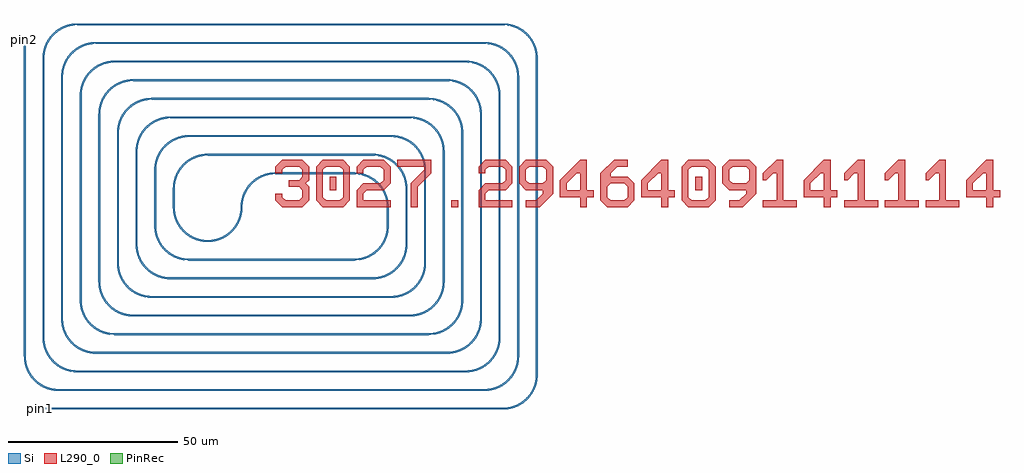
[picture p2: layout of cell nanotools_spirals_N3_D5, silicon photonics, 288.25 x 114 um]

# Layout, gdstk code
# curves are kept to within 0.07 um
import gdstk
lib = gdstk.Library(unit=1e-6, precision=1e-09)
def R(c, l, rs):  # rectangles x0, y0, x1, y1
    for r in rs: c.add(gdstk.rectangle(r[:2], r[2:], *l))
def P(c, l, *ps):  # polygons
    for p in ps: c.add(gdstk.Polygon(p, *l))
Si = (1, 0)
PinRec = (1, 10)
L290_0 = (290, 0)

nanotools_spirals_n3_d5 = lib.new_cell('nanotools_spirals_N3_D5')
R(nanotools_spirals_n3_d5, Si, [(-69.5,-59.75,67.2,-59.25), (-64,-54.25,61.7,-53.75), (76.95,-49.5,77.45,44), (-58.5,-48.75,56.2,-48.25), (-74.25,-44,-73.75,49.5), (71.45,-44,71.95,38.5), (-53,-43.25,50.7,-42.75), (-68.75,-38.5,-68.25,44), (65.95,-38.5,66.45,33), (-47.5,-37.75,45.2,-37.25), (-63.25,-33,-62.75,38.5), (60.45,-33,60.95,27.5), (-42,-32.25,39.7,-31.75), (-57.75,-27.5,-57.25,33), (54.95,-27.5,55.45,22), (-36.5,-26.75,34.2,-26.25), (-52.25,-22,-51.75,27.5), (49.45,-22,49.95,16.5), (-31,-21.25,28.7,-20.75), (-46.75,-16.5,-46.25,22), (43.95,-16.5,44.45,11), (-25.5,-15.75,23.2,-15.25), (-41.25,-11,-40.75,16.5), (38.45,-11,38.95,5.5), (-35.75,-5.5,-35.25,11), (32.95,-5.5,33.45,0), (-30.25,0,-29.75,5.5), (0,9.75,23.2,10.25), (-20,15.25,28.7,15.75), (-25.5,20.75,34.2,21.25), (-31,26.25,39.7,26.75), (-36.5,31.75,45.2,32.25), (-42,37.25,50.7,37.75), (-47.5,42.75,56.2,43.25), (-53,48.25,61.7,48.75), (-58.5,53.75,67.2,54.25)])
P(nanotools_spirals_n3_d5, Si, [(-10.25,0),(-10.056,1.984),(-9.482,3.894),(-8.548,5.656),(-7.292,7.204),(-6.557,7.879),(-5.759,8.479),(-4.009,9.434),(-3.072,9.779),(-2.107,10.031),(-1.121,10.189),(0,10.25),(0,9.75),(-1.066,9.692),(-2.12,9.517),(-3.148,9.228),(-4.246,8.777),(-5.673,7.93),(-6.852,6.936),(-7.93,5.673),(-8.777,4.246),(-9.228,3.148),(-9.517,2.12),(-9.692,1.066),(-9.75,0)],
  [(-20,-10.25),(-20,-9.75),(-18.934,-9.692),(-17.88,-9.517),(-16.852,-9.228),(-15.754,-8.777),(-14.327,-7.93),(-13.148,-6.936),(-12.07,-5.673),(-11.223,-4.246),(-10.772,-3.148),(-10.483,-2.12),(-10.308,-1.066),(-10.25,0),(-9.75,0),(-9.944,-1.984),(-10.518,-3.894),(-11.452,-5.656),(-12.708,-7.204),(-13.443,-7.879),(-14.241,-8.479),(-15.991,-9.434),(-16.928,-9.779),(-17.893,-10.031),(-18.879,-10.189)],
  [(23.2,-15.75),(23.2,-15.25),(24.266,-15.192),(25.32,-15.017),(26.348,-14.728),(27.446,-14.277),(28.873,-13.43),(30.052,-12.436),(31.13,-11.173),(31.977,-9.746),(32.428,-8.648),(32.717,-7.62),(32.892,-6.566),(32.95,-5.5),(33.45,-5.5),(33.256,-7.484),(32.682,-9.394),(31.748,-11.156),(30.492,-12.704),(29.757,-13.379),(28.959,-13.979),(27.209,-14.934),(26.272,-15.279),(25.307,-15.531),(24.321,-15.689)],
  [(28.7,-21.25),(28.7,-20.75),(29.766,-20.692),(30.82,-20.517),(31.848,-20.228),(32.946,-19.777),(34.373,-18.93),(35.552,-17.936),(36.63,-16.673),(37.477,-15.246),(37.928,-14.148),(38.217,-13.12),(38.392,-12.066),(38.45,-11),(38.95,-11),(38.756,-12.984),(38.182,-14.894),(37.248,-16.656),(35.992,-18.204),(35.257,-18.879),(34.459,-19.479),(32.709,-20.434),(31.772,-20.779),(30.807,-21.031),(29.821,-21.189)],
  [(34.2,-26.75),(34.2,-26.25),(35.266,-26.192),(36.32,-26.017),(37.348,-25.728),(38.446,-25.277),(39.873,-24.43),(41.052,-23.436),(42.13,-22.173),(42.977,-20.746),(43.428,-19.648),(43.717,-18.62),(43.892,-17.566),(43.95,-16.5),(44.45,-16.5),(44.256,-18.484),(43.682,-20.394),(42.748,-22.156),(41.492,-23.704),(40.757,-24.379),(39.959,-24.979),(38.209,-25.934),(37.272,-26.279),(36.307,-26.531),(35.321,-26.689)],
  [(39.7,-32.25),(39.7,-31.75),(40.766,-31.692),(41.82,-31.517),(42.848,-31.228),(43.946,-30.777),(45.373,-29.93),(46.552,-28.936),(47.63,-27.673),(48.477,-26.246),(48.928,-25.148),(49.217,-24.12),(49.392,-23.066),(49.45,-22),(49.95,-22),(49.756,-23.984),(49.182,-25.894),(48.248,-27.656),(46.992,-29.204),(46.257,-29.879),(45.459,-30.479),(43.709,-31.434),(42.772,-31.779),(41.807,-32.031),(40.821,-32.189)],
  [(45.2,-37.75),(45.2,-37.25),(46.266,-37.192),(47.32,-37.017),(48.348,-36.728),(49.446,-36.277),(50.873,-35.43),(52.052,-34.436),(53.13,-33.173),(53.977,-31.746),(54.428,-30.648),(54.717,-29.62),(54.892,-28.566),(54.95,-27.5),(55.45,-27.5),(55.256,-29.484),(54.682,-31.394),(53.748,-33.156),(52.492,-34.704),(51.757,-35.379),(50.959,-35.979),(49.209,-36.934),(48.272,-37.279),(47.307,-37.531),(46.321,-37.689)],
  [(50.7,-43.25),(50.7,-42.75),(51.766,-42.692),(52.82,-42.517),(53.848,-42.228),(54.946,-41.777),(56.373,-40.93),(57.552,-39.936),(58.63,-38.673),(59.477,-37.246),(59.928,-36.148),(60.217,-35.12),(60.392,-34.066),(60.45,-33),(60.95,-33),(60.756,-34.984),(60.182,-36.894),(59.248,-38.656),(57.992,-40.204),(57.257,-40.879),(56.459,-41.479),(54.709,-42.434),(53.772,-42.779),(52.807,-43.031),(51.821,-43.189)],
  [(56.2,-48.75),(56.2,-48.25),(57.266,-48.192),(58.32,-48.017),(59.348,-47.728),(60.446,-47.277),(61.873,-46.43),(63.052,-45.436),(64.13,-44.173),(64.977,-42.746),(65.428,-41.648),(65.717,-40.62),(65.892,-39.566),(65.95,-38.5),(66.45,-38.5),(66.256,-40.484),(65.682,-42.394),(64.748,-44.156),(63.492,-45.704),(62.757,-46.379),(61.959,-46.979),(60.209,-47.934),(59.272,-48.279),(58.307,-48.531),(57.321,-48.689)],
  [(61.7,-54.25),(61.7,-53.75),(62.766,-53.692),(63.82,-53.517),(64.848,-53.228),(65.946,-52.777),(67.373,-51.93),(68.552,-50.936),(69.63,-49.673),(70.477,-48.246),(70.928,-47.148),(71.217,-46.12),(71.392,-45.066),(71.45,-44),(71.95,-44),(71.756,-45.984),(71.182,-47.894),(70.248,-49.656),(68.992,-51.204),(68.257,-51.879),(67.459,-52.479),(65.709,-53.434),(64.772,-53.779),(63.807,-54.031),(62.821,-54.189)],
  [(67.2,-59.75),(67.2,-59.25),(68.266,-59.192),(69.32,-59.017),(70.348,-58.728),(71.446,-58.277),(72.873,-57.43),(74.052,-56.436),(75.13,-55.173),(75.977,-53.746),(76.428,-52.648),(76.717,-51.62),(76.892,-50.566),(76.95,-49.5),(77.45,-49.5),(77.256,-51.484),(76.682,-53.394),(75.748,-55.156),(74.492,-56.704),(73.757,-57.379),(72.959,-57.979),(71.209,-58.934),(70.272,-59.279),(69.307,-59.531),(68.321,-59.689)],
  [(32.95,0),(32.766,1.888),(32.264,3.594),(31.46,5.18),(30.301,6.681),(29.065,7.789),(27.552,8.725),(26.46,9.189),(25.436,9.49),(24.266,9.692),(23.2,9.75),(23.2,10.25),(24.321,10.189),(25.307,10.031),(26.272,9.779),(27.209,9.434),(28.217,8.939),(29.062,8.408),(29.947,7.717),(30.665,7.024),(31.389,6.165),(32.014,5.233),(32.533,4.237),(32.941,3.191),(33.322,1.616),(33.45,0)],
  [(38.45,5.5),(38.266,7.388),(37.764,9.094),(36.96,10.68),(35.801,12.181),(34.565,13.289),(33.052,14.225),(31.96,14.689),(30.936,14.99),(29.766,15.192),(28.7,15.25),(28.7,15.75),(29.821,15.689),(30.807,15.531),(31.772,15.279),(32.709,14.934),(33.717,14.439),(34.562,13.908),(35.447,13.217),(36.165,12.524),(36.889,11.665),(37.514,10.733),(38.033,9.737),(38.441,8.691),(38.822,7.116),(38.95,5.5)],
  [(43.95,11),(43.766,12.888),(43.264,14.594),(42.46,16.18),(41.301,17.681),(40.065,18.789),(38.552,19.725),(37.46,20.189),(36.436,20.49),(35.266,20.692),(34.2,20.75),(34.2,21.25),(35.321,21.189),(36.307,21.031),(37.272,20.779),(38.209,20.434),(39.217,19.939),(40.062,19.408),(40.947,18.717),(41.665,18.024),(42.389,17.165),(43.014,16.233),(43.533,15.237),(43.941,14.191),(44.322,12.616),(44.45,11)],
  [(49.45,16.5),(49.266,18.388),(48.764,20.094),(47.96,21.68),(46.801,23.181),(45.565,24.289),(44.052,25.225),(42.96,25.689),(41.936,25.99),(40.766,26.192),(39.7,26.25),(39.7,26.75),(40.821,26.689),(41.807,26.531),(42.772,26.279),(43.709,25.934),(44.717,25.439),(45.562,24.908),(46.447,24.217),(47.165,23.524),(47.889,22.665),(48.514,21.733),(49.033,20.737),(49.441,19.691),(49.822,18.116),(49.95,16.5)],
  [(54.95,22),(54.766,23.888),(54.264,25.594),(53.46,27.18),(52.301,28.681),(51.065,29.789),(49.552,30.725),(48.46,31.189),(47.436,31.49),(46.266,31.692),(45.2,31.75),(45.2,32.25),(46.321,32.189),(47.307,32.031),(48.272,31.779),(49.209,31.434),(50.217,30.939),(51.062,30.408),(51.947,29.717),(52.665,29.024),(53.389,28.165),(54.014,27.233),(54.533,26.237),(54.941,25.191),(55.322,23.616),(55.45,22)],
  [(60.45,27.5),(60.266,29.388),(59.764,31.094),(58.96,32.68),(57.801,34.181),(56.565,35.289),(55.052,36.225),(53.96,36.689),(52.936,36.99),(51.766,37.192),(50.7,37.25),(50.7,37.75),(51.821,37.689),(52.807,37.531),(53.772,37.279),(54.709,36.934),(55.717,36.439),(56.562,35.908),(57.447,35.217),(58.165,34.524),(58.889,33.665),(59.514,32.733),(60.033,31.737),(60.441,30.691),(60.822,29.116),(60.95,27.5)],
  [(65.95,33),(65.766,34.888),(65.264,36.594),(64.46,38.18),(63.301,39.681),(62.065,40.789),(60.552,41.725),(59.46,42.189),(58.436,42.49),(57.266,42.692),(56.2,42.75),(56.2,43.25),(57.321,43.189),(58.307,43.031),(59.272,42.779),(60.209,42.434),(61.217,41.939),(62.062,41.408),(62.947,40.717),(63.665,40.024),(64.389,39.165),(65.014,38.233),(65.533,37.237),(65.941,36.191),(66.322,34.616),(66.45,33)],
  [(71.45,38.5),(71.266,40.388),(70.764,42.094),(69.96,43.68),(68.801,45.181),(67.565,46.289),(66.052,47.225),(64.96,47.689),(63.936,47.99),(62.766,48.192),(61.7,48.25),(61.7,48.75),(62.821,48.689),(63.807,48.531),(64.772,48.279),(65.709,47.934),(66.717,47.439),(67.562,46.908),(68.447,46.217),(69.165,45.524),(69.889,44.665),(70.514,43.733),(71.033,42.737),(71.441,41.691),(71.822,40.116),(71.95,38.5)],
  [(76.95,44),(76.766,45.888),(76.264,47.594),(75.46,49.18),(74.301,50.681),(73.065,51.789),(71.552,52.725),(70.46,53.189),(69.436,53.49),(68.266,53.692),(67.2,53.75),(67.2,54.25),(68.321,54.189),(69.307,54.031),(70.272,53.779),(71.209,53.434),(72.217,52.939),(73.062,52.408),(73.947,51.717),(74.665,51.024),(75.389,50.165),(76.014,49.233),(76.533,48.237),(76.941,47.191),(77.322,45.616),(77.45,44)],
  [(-30.25,5.5),(-30.056,7.484),(-29.482,9.394),(-28.548,11.156),(-27.292,12.704),(-26.557,13.379),(-25.759,13.979),(-24.009,14.934),(-23.072,15.279),(-22.107,15.531),(-21.121,15.689),(-20,15.75),(-20,15.25),(-21.066,15.192),(-22.12,15.017),(-23.148,14.728),(-24.246,14.277),(-25.673,13.43),(-26.852,12.436),(-27.93,11.173),(-28.777,9.746),(-29.228,8.648),(-29.517,7.62),(-29.692,6.566),(-29.75,5.5)],
  [(-35.75,11),(-35.556,12.984),(-34.982,14.894),(-34.048,16.656),(-32.792,18.204),(-32.057,18.879),(-31.259,19.479),(-29.509,20.434),(-28.572,20.779),(-27.607,21.031),(-26.621,21.189),(-25.5,21.25),(-25.5,20.75),(-26.566,20.692),(-27.62,20.517),(-28.648,20.228),(-29.746,19.777),(-31.173,18.93),(-32.352,17.936),(-33.43,16.673),(-34.277,15.246),(-34.728,14.148),(-35.017,13.12),(-35.192,12.066),(-35.25,11)],
  [(-41.25,16.5),(-41.056,18.484),(-40.482,20.394),(-39.548,22.156),(-38.292,23.704),(-37.557,24.379),(-36.759,24.979),(-35.009,25.934),(-34.072,26.279),(-33.107,26.531),(-32.121,26.689),(-31,26.75),(-31,26.25),(-32.066,26.192),(-33.12,26.017),(-34.148,25.728),(-35.246,25.277),(-36.673,24.43),(-37.852,23.436),(-38.93,22.173),(-39.777,20.746),(-40.228,19.648),(-40.517,18.62),(-40.692,17.566),(-40.75,16.5)],
  [(-46.75,22),(-46.556,23.984),(-45.982,25.894),(-45.048,27.656),(-43.792,29.204),(-43.057,29.879),(-42.259,30.479),(-40.509,31.434),(-39.572,31.779),(-38.607,32.031),(-37.621,32.189),(-36.5,32.25),(-36.5,31.75),(-37.566,31.692),(-38.62,31.517),(-39.648,31.228),(-40.746,30.777),(-42.173,29.93),(-43.352,28.936),(-44.43,27.673),(-45.277,26.246),(-45.728,25.148),(-46.017,24.12),(-46.192,23.066),(-46.25,22)],
  [(-52.25,27.5),(-52.056,29.484),(-51.482,31.394),(-50.548,33.156),(-49.292,34.704),(-48.557,35.379),(-47.759,35.979),(-46.009,36.934),(-45.072,37.279),(-44.107,37.531),(-43.121,37.689),(-42,37.75),(-42,37.25),(-43.066,37.192),(-44.12,37.017),(-45.148,36.728),(-46.246,36.277),(-47.673,35.43),(-48.852,34.436),(-49.93,33.173),(-50.777,31.746),(-51.228,30.648),(-51.517,29.62),(-51.692,28.566),(-51.75,27.5)],
  [(-57.75,33),(-57.556,34.984),(-56.982,36.894),(-56.048,38.656),(-54.792,40.204),(-54.057,40.879),(-53.259,41.479),(-51.509,42.434),(-50.572,42.779),(-49.607,43.031),(-48.621,43.189),(-47.5,43.25),(-47.5,42.75),(-48.566,42.692),(-49.62,42.517),(-50.648,42.228),(-51.746,41.777),(-53.173,40.93),(-54.352,39.936),(-55.43,38.673),(-56.277,37.246),(-56.728,36.148),(-57.017,35.12),(-57.192,34.066),(-57.25,33)],
  [(-63.25,38.5),(-63.056,40.484),(-62.482,42.394),(-61.548,44.156),(-60.292,45.704),(-59.557,46.379),(-58.759,46.979),(-57.009,47.934),(-56.072,48.279),(-55.107,48.531),(-54.121,48.689),(-53,48.75),(-53,48.25),(-54.066,48.192),(-55.12,48.017),(-56.148,47.728),(-57.246,47.277),(-58.673,46.43),(-59.852,45.436),(-60.93,44.173),(-61.777,42.746),(-62.228,41.648),(-62.517,40.62),(-62.692,39.566),(-62.75,38.5)],
  [(-68.75,44),(-68.556,45.984),(-67.982,47.894),(-67.048,49.656),(-65.792,51.204),(-65.057,51.879),(-64.259,52.479),(-62.509,53.434),(-61.572,53.779),(-60.607,54.031),(-59.621,54.189),(-58.5,54.25),(-58.5,53.75),(-59.566,53.692),(-60.62,53.517),(-61.648,53.228),(-62.746,52.777),(-64.173,51.93),(-65.352,50.936),(-66.43,49.673),(-67.277,48.246),(-67.728,47.148),(-68.017,46.12),(-68.192,45.066),(-68.25,44)],
  [(-20,-10.25),(-21.984,-10.056),(-23.894,-9.482),(-25.656,-8.548),(-27.204,-7.292),(-27.879,-6.557),(-28.479,-5.759),(-29.434,-4.009),(-29.779,-3.072),(-30.031,-2.107),(-30.189,-1.121),(-30.25,0),(-29.75,0),(-29.692,-1.066),(-29.517,-2.12),(-29.228,-3.148),(-28.777,-4.246),(-27.93,-5.673),(-26.936,-6.852),(-25.673,-7.93),(-24.246,-8.777),(-23.148,-9.228),(-22.12,-9.517),(-21.066,-9.692),(-20,-9.75)],
  [(-25.5,-15.75),(-27.484,-15.556),(-29.394,-14.982),(-31.156,-14.048),(-32.704,-12.792),(-33.379,-12.057),(-33.979,-11.259),(-34.934,-9.509),(-35.279,-8.572),(-35.531,-7.607),(-35.689,-6.621),(-35.75,-5.5),(-35.25,-5.5),(-35.192,-6.566),(-35.017,-7.62),(-34.728,-8.648),(-34.277,-9.746),(-33.43,-11.173),(-32.436,-12.352),(-31.173,-13.43),(-29.746,-14.277),(-28.648,-14.728),(-27.62,-15.017),(-26.566,-15.192),(-25.5,-15.25)],
  [(-31,-21.25),(-32.984,-21.056),(-34.894,-20.482),(-36.656,-19.548),(-38.204,-18.292),(-38.879,-17.557),(-39.479,-16.759),(-40.434,-15.009),(-40.779,-14.072),(-41.031,-13.107),(-41.189,-12.121),(-41.25,-11),(-40.75,-11),(-40.692,-12.066),(-40.517,-13.12),(-40.228,-14.148),(-39.777,-15.246),(-38.93,-16.673),(-37.936,-17.852),(-36.673,-18.93),(-35.246,-19.777),(-34.148,-20.228),(-33.12,-20.517),(-32.066,-20.692),(-31,-20.75)],
  [(-36.5,-26.75),(-38.484,-26.556),(-40.394,-25.982),(-42.156,-25.048),(-43.704,-23.792),(-44.379,-23.057),(-44.979,-22.259),(-45.934,-20.509),(-46.279,-19.572),(-46.531,-18.607),(-46.689,-17.621),(-46.75,-16.5),(-46.25,-16.5),(-46.192,-17.566),(-46.017,-18.62),(-45.728,-19.648),(-45.277,-20.746),(-44.43,-22.173),(-43.436,-23.352),(-42.173,-24.43),(-40.746,-25.277),(-39.648,-25.728),(-38.62,-26.017),(-37.566,-26.192),(-36.5,-26.25)],
  [(-42,-32.25),(-43.984,-32.056),(-45.894,-31.482),(-47.656,-30.548),(-49.204,-29.292),(-49.879,-28.557),(-50.479,-27.759),(-51.434,-26.009),(-51.779,-25.072),(-52.031,-24.107),(-52.189,-23.121),(-52.25,-22),(-51.75,-22),(-51.692,-23.066),(-51.517,-24.12),(-51.228,-25.148),(-50.777,-26.246),(-49.93,-27.673),(-48.936,-28.852),(-47.673,-29.93),(-46.246,-30.777),(-45.148,-31.228),(-44.12,-31.517),(-43.066,-31.692),(-42,-31.75)],
  [(-47.5,-37.75),(-49.484,-37.556),(-51.394,-36.982),(-53.156,-36.048),(-54.704,-34.792),(-55.379,-34.057),(-55.979,-33.259),(-56.934,-31.509),(-57.279,-30.572),(-57.531,-29.607),(-57.689,-28.621),(-57.75,-27.5),(-57.25,-27.5),(-57.192,-28.566),(-57.017,-29.62),(-56.728,-30.648),(-56.277,-31.746),(-55.43,-33.173),(-54.436,-34.352),(-53.173,-35.43),(-51.746,-36.277),(-50.648,-36.728),(-49.62,-37.017),(-48.566,-37.192),(-47.5,-37.25)],
  [(-53,-43.25),(-54.984,-43.056),(-56.894,-42.482),(-58.656,-41.548),(-60.204,-40.292),(-60.879,-39.557),(-61.479,-38.759),(-62.434,-37.009),(-62.779,-36.072),(-63.031,-35.107),(-63.189,-34.121),(-63.25,-33),(-62.75,-33),(-62.692,-34.066),(-62.517,-35.12),(-62.228,-36.148),(-61.777,-37.246),(-60.93,-38.673),(-59.936,-39.852),(-58.673,-40.93),(-57.246,-41.777),(-56.148,-42.228),(-55.12,-42.517),(-54.066,-42.692),(-53,-42.75)],
  [(-58.5,-48.75),(-60.484,-48.556),(-62.394,-47.982),(-64.156,-47.048),(-65.704,-45.792),(-66.379,-45.057),(-66.979,-44.259),(-67.934,-42.509),(-68.279,-41.572),(-68.531,-40.607),(-68.689,-39.621),(-68.75,-38.5),(-68.25,-38.5),(-68.192,-39.566),(-68.017,-40.62),(-67.728,-41.648),(-67.277,-42.746),(-66.43,-44.173),(-65.436,-45.352),(-64.173,-46.43),(-62.746,-47.277),(-61.648,-47.728),(-60.62,-48.017),(-59.566,-48.192),(-58.5,-48.25)],
  [(-64,-54.25),(-65.984,-54.056),(-67.894,-53.482),(-69.656,-52.548),(-71.204,-51.292),(-71.879,-50.557),(-72.479,-49.759),(-73.434,-48.009),(-73.779,-47.072),(-74.031,-46.107),(-74.189,-45.121),(-74.25,-44),(-73.75,-44),(-73.692,-45.066),(-73.517,-46.12),(-73.228,-47.148),(-72.777,-48.246),(-71.93,-49.673),(-70.936,-50.852),(-69.673,-51.93),(-68.246,-52.777),(-67.148,-53.228),(-66.12,-53.517),(-65.066,-53.692),(-64,-53.75)])
R(nanotools_spirals_n3_d5, L290_0, [(52,0,54,2), (16,5,18,9), (124,5,126,9)])
P(nanotools_spirals_n3_d5, L290_0, [(2,0),(0,2),(0,4),(2,4),(2,3),(3,2),(7,2),(8,3),(8,5),(7,6),(4,6),(4,8),(7,8),(8,9),(8,11),(7,12),(3,12),(2,11),(2,10),(0,10),(0,12),(2,14),(8,14),(10,12),(10,8),(9,7),(10,6),(10,2),(8,0)],
  [(14,0),(12,2),(12,12),(14,14),(20,14),(22,12),(15,12),(14,11),(14,3),(15,2),(19,2),(20,3),(20,11),(19,12),(22,12),(22,2),(20,0)],
  [(24,0),(24,5),(26,7),(31,7),(32,8),(32,11),(31,12),(27,12),(26,11),(26,10),(24,10),(24,12),(26,14),(32,14),(34,12),(34,7),(32,5),(27,5),(26,4),(26,2),(34,2),(34,0)],
  [(40,0),(40,7),(44,11),(44,12),(36,12),(36,14),(46,14),(46,10),(42,6),(42,0)],
  [(60,0),(60,5),(62,7),(67,7),(68,8),(68,11),(67,12),(63,12),(62,11),(62,10),(60,10),(60,12),(62,14),(68,14),(70,12),(70,7),(68,5),(63,5),(62,4),(62,2),(70,2),(70,0)],
  [(74,0),(74,2),(77,2),(79,4),(79,5),(74,5),(72,7),(79,7),(80,8),(80,11),(79,12),(75,12),(74,11),(74,8),(75,7),(72,7),(72,12),(74,14),(80,14),(82,12),(82,4),(78,0)],
  [(90,0),(90,3),(84,3),(84,5),(90,5),(90,10),(89,10),(86,7),(86,5),(84,5),(84,8),(90,14),(92,14),(92,5),(94,5),(94,3),(92,3),(92,0)],
  [(98,0),(96,2),(96,10),(100,14),(104,14),(104,12),(101,12),(99,10),(99,9),(104,9),(106,7),(99,7),(98,6),(98,3),(99,2),(103,2),(104,3),(104,6),(103,7),(106,7),(106,2),(104,0)],
  [(114,0),(114,3),(108,3),(108,5),(114,5),(114,10),(113,10),(110,7),(110,5),(108,5),(108,8),(114,14),(116,14),(116,5),(118,5),(118,3),(116,3),(116,0)],
  [(122,0),(120,2),(120,12),(122,14),(128,14),(130,12),(123,12),(122,11),(122,3),(123,2),(127,2),(128,3),(128,11),(127,12),(130,12),(130,2),(128,0)],
  [(134,0),(134,2),(137,2),(139,4),(139,5),(134,5),(132,7),(139,7),(140,8),(140,11),(139,12),(135,12),(134,11),(134,8),(135,7),(132,7),(132,12),(134,14),(140,14),(142,12),(142,4),(138,0)],
  [(144,0),(144,2),(148,2),(148,10),(147,10),(145,8),(144,8),(144,10),(148,14),(150,14),(150,2),(154,2),(154,0)],
  [(162,0),(162,3),(156,3),(156,5),(162,5),(162,10),(161,10),(158,7),(158,5),(156,5),(156,8),(162,14),(164,14),(164,5),(166,5),(166,3),(164,3),(164,0)],
  [(168,0),(168,2),(172,2),(172,10),(171,10),(169,8),(168,8),(168,10),(172,14),(174,14),(174,2),(178,2),(178,0)],
  [(180,0),(180,2),(184,2),(184,10),(183,10),(181,8),(180,8),(180,10),(184,14),(186,14),(186,2),(190,2),(190,0)],
  [(192,0),(192,2),(196,2),(196,10),(195,10),(193,8),(192,8),(192,10),(196,14),(198,14),(198,2),(202,2),(202,0)],
  [(210,0),(210,3),(204,3),(204,5),(210,5),(210,10),(209,10),(206,7),(206,5),(204,5),(204,8),(210,14),(212,14),(212,5),(214,5),(214,3),(212,3),(212,0)])
nanotools_spirals_n3_d5.add(gdstk.FlexPath([(-69.45,-59.5),(-69.55,-59.5)], 0.5, ends="flush", simple_path=True, layer=1, datatype=10))  # PinRec
nanotools_spirals_n3_d5.add(gdstk.FlexPath([(-74,49.45),(-74,49.55)], 0.5, ends="flush", simple_path=True, layer=1, datatype=10))  # PinRec
nanotools_spirals_n3_d5.add(gdstk.Label('pin1', (-69.5,-59.5), layer=1, texttype=10))
nanotools_spirals_n3_d5.add(gdstk.Label('pin2', (-74,49.5), layer=1, texttype=10))

lib.write_gds('nanotools_spirals_N3_D5.gds')
